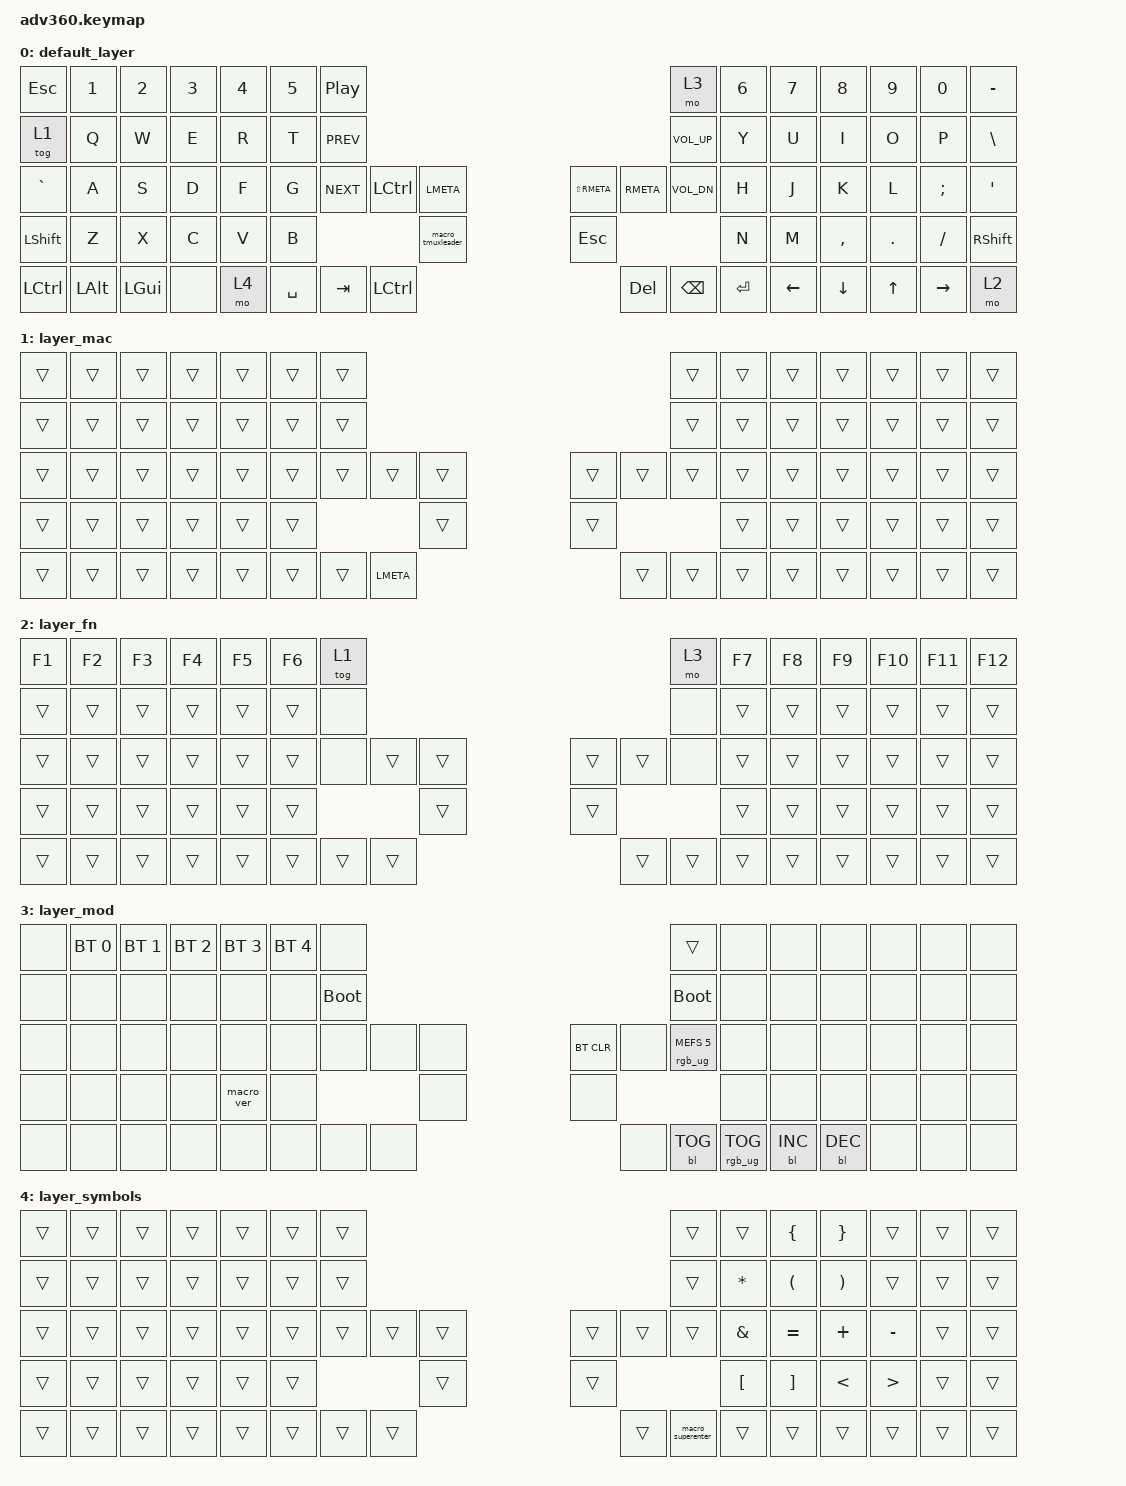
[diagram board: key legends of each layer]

/*
 * Copyright (c) 2020 The ZMK Contributors
 *
 * SPDX-License-Identifier: MIT
 */


/* THIS FILE WAS GENERATED!
 *
 * This file was generated automatically. You may or may not want to
 * edit it directly.
 */

#include <behaviors.dtsi>
#include <dt-bindings/zmk/keys.h>
#include <dt-bindings/zmk/bt.h>
#include <dt-bindings/zmk/rgb.h>
#include <dt-bindings/zmk/backlight.h>

/ {
  behaviors {
    #include "macros.dtsi"
    #include "version.dtsi"

    hm: homerow_mods {
        compatible = "zmk,behavior-hold-tap";
        label = "HOMEROW_MODS";
        #binding-cells = <2>;
        tapping-term-ms = <200>;
        quick_tap_ms = <175>;
        flavor = "tap-preferred";
        bindings = <&kp>, <&kp>;
    };
  };

    keymap {
        compatible = "zmk,keymap";


        default_layer {
            bindings = <
        &kp ESC      &kp N1    &kp N2    &kp N3  &kp N4  &kp N5    &kp C_PLAY_PAUSE                                                                                                 &mo 3          &kp N6    &kp N7     &kp N8     &kp N9  &kp N0    &kp MINUS
        &tog 1       &kp Q     &kp W     &kp E   &kp R   &kp T     &kp C_PREV                                                                                                       &kp C_VOL_UP   &kp Y     &kp U      &kp I      &kp O   &kp P     &kp BSLH
        &kp GRAVE    &kp A     &kp S     &kp D   &kp F   &kp G     &kp C_NEXT                &kp LCTRL  &kp LMETA                  &kp LS(RMETA)    &kp RMETA                       &kp C_VOL_DN   &kp H     &kp J      &kp K      &kp L   &kp SEMI  &kp SQT
        &kp LSHFT    &kp Z     &kp X     &kp C   &kp V   &kp B                                          &macro_tmuxleader          &kp ESC                                                         &kp N     &kp M      &kp COMMA  &kp DOT &kp FSLH  &kp RSHFT
        &kp LCTRL    &kp LALT  &kp LGUI  &none   &mo 4                          &kp SPACE    &kp TAB    &kp LCTRL                  &kp DEL          &kp BACKSPACE    &kp RETURN                              &kp LEFT   &kp DOWN   &kp UP  &kp RIGHT &mo 2
            >;
        };

        layer_mac {
            bindings = <
 &trans  &trans  &trans  &trans  &trans  &trans            &trans                                                     &trans  &trans  &trans  &trans  &trans  &trans  &trans
 &trans  &trans  &trans  &trans  &trans  &trans            &trans                                                     &trans  &trans  &trans  &trans  &trans  &trans  &trans
 &trans  &trans  &trans  &trans  &trans  &trans            &trans  &trans     &trans                  &trans  &trans  &trans  &trans  &trans  &trans  &trans  &trans  &trans
 &trans  &trans  &trans  &trans  &trans  &trans                               &trans                  &trans                  &trans  &trans  &trans  &trans  &trans  &trans
 &trans  &trans  &trans  &trans  &trans                    &trans  &trans  &kp LMETA                  &trans  &trans  &trans          &trans  &trans  &trans  &trans  &trans
            >;
        };

        layer_fn {
            bindings = <
 &kp F1  &kp F2  &kp F3  &kp F4  &kp F5  &kp F6            &tog 1                                                   &mo 3  &kp F7  &kp F8  &kp F9  &kp F10  &kp F11  &kp F12
 &trans  &trans  &trans  &trans  &trans  &trans             &none                                                   &none  &trans  &trans  &trans   &trans   &trans   &trans
 &trans  &trans  &trans  &trans  &trans  &trans             &none  &trans  &trans                  &trans  &trans   &none  &trans  &trans  &trans   &trans   &trans   &trans
 &trans  &trans  &trans  &trans  &trans  &trans                            &trans                  &trans                  &trans  &trans  &trans   &trans   &trans   &trans
 &trans  &trans  &trans  &trans  &trans                    &trans  &trans  &trans                  &trans  &trans  &trans          &trans  &trans   &trans   &trans   &trans
            >;
        };

        layer_mod {
            bindings = <
  &none  &bt BT_SEL 0  &bt BT_SEL 1  &bt BT_SEL 2  &bt BT_SEL 3  &bt BT_SEL 4                  &none                                                                          &trans   &none       &none       &none   &none   &none   &none
  &none         &none         &none         &none         &none         &none            &bootloader                                                                     &bootloader   &none       &none       &none   &none   &none   &none
  &none         &none         &none         &none         &none         &none                  &none   &none   &none                  &bt BT_CLR       &none  &rgb_ug RGB_MEFS_CMD 5   &none       &none       &none   &none   &none   &none
  &none         &none         &none         &none    &macro_ver         &none                                  &none                       &none                                       &none       &none       &none   &none   &none   &none
  &none         &none         &none         &none         &none                                &none   &none   &none                       &none  &bl BL_TOG         &rgb_ug RGB_TOG          &bl BL_INC  &bl BL_DEC   &none   &none   &none
            >;
        };

        layer_symbols {
            bindings = <
 &trans  &trans  &trans  &trans  &trans  &trans            &trans                                                             &trans            &trans        &kp LEFT_BRACE        &kp RIGHT_BRACE            &trans  &trans  &trans
 &trans  &trans  &trans  &trans  &trans  &trans            &trans                                                             &trans          &kp STAR  &kp LEFT_PARENTHESIS  &kp RIGHT_PARENTHESIS            &trans  &trans  &trans
 &trans  &trans  &trans  &trans  &trans  &trans            &trans  &trans  &trans                  &trans             &trans  &trans     &kp AMPERSAND             &kp EQUAL               &kp PLUS         &kp MINUS  &trans  &trans
 &trans  &trans  &trans  &trans  &trans  &trans                            &trans                  &trans                             &kp LEFT_BRACKET     &kp RIGHT_BRACKET          &kp LESS_THAN  &kp GREATER_THAN  &trans  &trans
 &trans  &trans  &trans  &trans  &trans                    &trans  &trans  &trans                  &trans  &macro_superenter  &trans                                  &trans                 &trans            &trans  &trans  &trans
            >;
        };

    };
};
